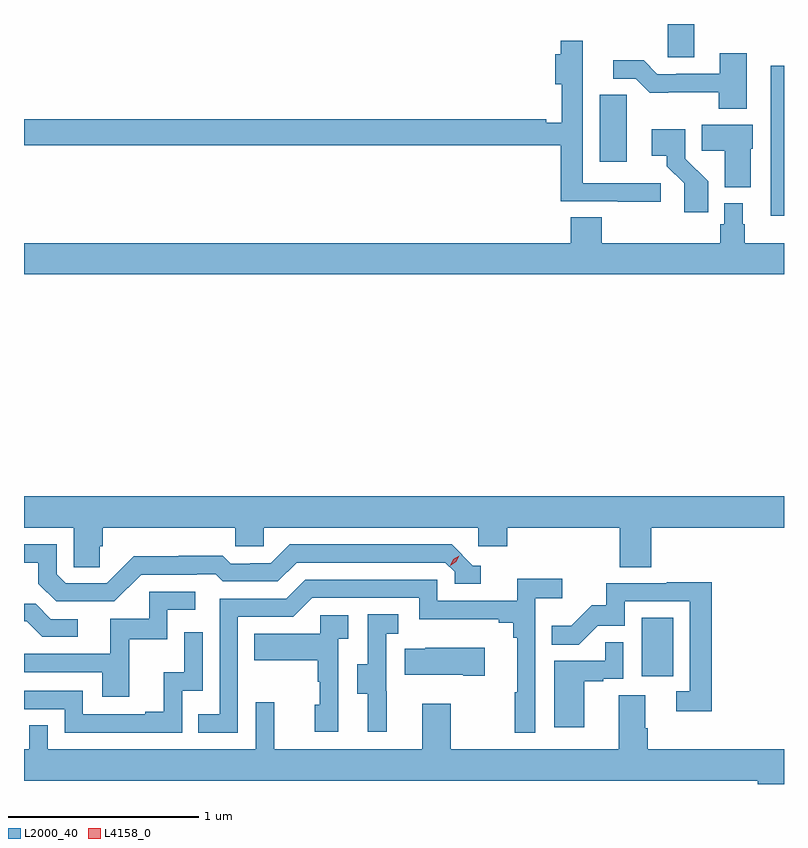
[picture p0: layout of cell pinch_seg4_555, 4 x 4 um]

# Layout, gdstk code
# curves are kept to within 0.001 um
import gdstk
lib = gdstk.Library(unit=1e-6, precision=1e-09)
def R(c, l, rs):  # rectangles x0, y0, x1, y1
    for r in rs: c.add(gdstk.rectangle(r[:2], r[2:], *l))
def P(c, l, *ps):  # polygons
    for p in ps: c.add(gdstk.Polygon(p, *l))
L2000_40 = (2000, 40)
L4158_0 = (4158, 0)

pinch_seg4_555 = lib.new_cell('pinch_seg4_555')
R(pinch_seg4_555, L2000_40, [(1107.974,780.054,1108.138,780.361), (1108.652,782.478,1108.722,783.265), (1108.11,783.31,1108.249,783.486)])
P(pinch_seg4_555, L2000_40, [(1108.072,782.649),(1107.663,782.649),(1107.663,783.174),(1107.664,783.174),(1107.664,783.397),(1107.547,783.397),(1107.547,783.328),(1107.518,783.328),(1107.518,783.17),(1107.551,783.17),(1107.551,782.966),(1107.47,782.966),(1107.47,782.984),(1104.722,782.984),(1104.722,782.848),(1107.547,782.848),(1107.547,782.553),(1107.847,782.553),(1107.847,782.551),(1108.072,782.551)],
  [(1108.525,783.331),(1108.385,783.331),(1108.385,783.225),(1108.156,783.225),(1108.156,783.222),(1108.056,783.222),(1107.983,783.295),(1107.822,783.295),(1107.822,783.198),(1107.942,783.198),(1108.015,783.125),(1108.378,783.126),(1108.378,783.041),(1108.525,783.041)],
  [(1107.895,783.002),(1107.894,783.002),(1107.894,783.113),(1107.752,783.113),(1107.752,782.76),(1107.895,782.76)],
  [(1108.546,782.829),(1108.558,782.829),(1108.558,782.956),(1108.288,782.956),(1108.288,782.818),(1108.409,782.818),(1108.409,782.627),(1108.546,782.627)],
  [(1108.322,782.658),(1108.203,782.777),(1108.203,782.932),(1108.026,782.932),(1108.026,782.792),(1108.106,782.792),(1108.106,782.737),(1108.197,782.647),(1108.197,782.496),(1108.322,782.496)],
  [(1108.722,782.332),(1108.516,782.332),(1108.516,782.433),(1108.504,782.433),(1108.504,782.542),(1108.407,782.542),(1108.407,782.433),(1108.387,782.433),(1108.387,782.332),(1107.764,782.332),(1107.764,782.468),(1107.599,782.468),(1107.599,782.332),(1104.722,782.332),(1104.722,782.168),(1108.722,782.168)],
  [(1105.121,780.738),(1105.136,780.738),(1105.136,780.836),(1105.833,780.836),(1105.833,780.738),(1105.983,780.738),(1105.983,780.836),(1107.114,780.836),(1107.114,780.738),(1107.266,780.738),(1107.266,780.836),(1107.857,780.836),(1107.857,780.628),(1108.022,780.628),(1108.022,780.836),(1108.722,780.836),(1108.722,781),(1104.722,781),(1104.722,780.836),(1104.984,780.836),(1104.984,780.628),(1105.121,780.628)],
  [(1105.338,780.588),(1105.631,780.588),(1105.631,780.591),(1105.73,780.591),(1105.769,780.552),(1106.058,780.552),(1106.157,780.651),(1106.94,780.651),(1106.988,780.603),(1106.988,780.54),(1107.127,780.54),(1107.127,780.636),(1107.084,780.636),(1106.973,780.747),(1106.12,780.747),(1106.021,780.648),(1105.914,780.648),(1105.914,780.645),(1105.811,780.645),(1105.769,780.688),(1105.536,780.688),(1105.536,780.685),(1105.3,780.685),(1105.158,780.543),(1104.942,780.543),(1104.894,780.591),(1104.894,780.747),(1104.722,780.747),(1104.722,780.651),(1104.797,780.651),(1104.797,780.541),(1104.891,780.447),(1105.197,780.447)],
  [(1105.848,780.366),(1106.139,780.366),(1106.238,780.465),(1106.802,780.465),(1106.802,780.353),(1107.221,780.353),(1107.221,780.334),(1107.298,780.334),(1107.298,780.257),(1107.317,780.257),(1107.317,779.969),(1107.306,779.969),(1107.306,779.757),(1107.414,779.757),(1107.414,780.464),(1107.556,780.464),(1107.556,780.566),(1107.317,780.566),(1107.317,780.45),(1106.898,780.45),(1106.898,780.561),(1106.201,780.561),(1106.102,780.462),(1105.752,780.462),(1105.752,779.853),(1105.639,779.853),(1105.639,779.757),(1105.848,779.757)],
  [(1108.343,780.548),(1108.105,780.548),(1108.105,780.543),(1107.787,780.543),(1107.787,780.426),(1107.71,780.426),(1107.603,780.319),(1107.499,780.319),(1107.499,780.22),(1107.643,780.22),(1107.741,780.318),(1107.885,780.318),(1107.885,780.447),(1108.227,780.447),(1108.227,779.973),(1108.155,779.973),(1108.155,779.868),(1108.343,779.868)],
  [(1105.277,780.249),(1105.476,780.249),(1105.476,780.402),(1105.624,780.402),(1105.624,780.498),(1105.38,780.498),(1105.38,780.357),(1105.175,780.357),(1105.175,780.171),(1104.722,780.171),(1104.722,780.075),(1105.133,780.075),(1105.133,779.946),(1105.277,779.946)],
  [(1105.006,780.354),(1104.864,780.354),(1104.784,780.434),(1104.722,780.434),(1104.722,780.342),(1104.737,780.342),(1104.818,780.261),(1105.006,780.261)],
  [(1106.63,779.973),(1106.628,779.973),(1106.628,780.277),(1106.692,780.277),(1106.692,780.38),(1106.532,780.38),(1106.532,780.117),(1106.477,780.117),(1106.477,779.962),(1106.531,779.962),(1106.531,779.76),(1106.63,779.76)],
  [(1106.376,780.251),(1106.428,780.251),(1106.428,780.375),(1106.28,780.375),(1106.28,780.277),(1105.933,780.277),(1105.933,780.137),(1106.268,780.137),(1106.268,780.023),(1106.278,780.023),(1106.278,779.904),(1106.252,779.904),(1106.252,779.76),(1106.376,779.76)],
  [(1105.554,779.976),(1105.662,779.976),(1105.662,780.286),(1105.566,780.286),(1105.566,780.074),(1105.457,780.074),(1105.457,779.866),(1105.361,779.866),(1105.361,779.853),(1105.032,779.853),(1105.032,779.976),(1104.722,779.976),(1104.722,779.88),(1104.936,779.88),(1104.936,779.757),(1105.554,779.757)],
  [(1107.67,780.027),(1107.77,780.027),(1107.77,780.039),(1107.876,780.039),(1107.876,780.233),(1107.781,780.233),(1107.781,780.135),(1107.512,780.135),(1107.512,779.784),(1107.67,779.784)],
  [(1107.148,780.202),(1106.833,780.202),(1106.833,780.199),(1106.725,780.199),(1106.725,780.062),(1107.035,780.062),(1107.035,780.055),(1107.148,780.055)],
  [(1108.722,779.668),(1108.004,779.668),(1108.004,779.78),(1107.991,779.78),(1107.991,779.954),(1107.851,779.954),(1107.851,779.668),(1106.967,779.668),(1106.967,779.908),(1106.819,779.908),(1106.819,779.668),(1106.039,779.668),(1106.039,779.917),(1105.941,779.917),(1105.941,779.668),(1104.846,779.668),(1104.846,779.795),(1104.75,779.795),(1104.75,779.668),(1104.722,779.668),(1104.722,779.504),(1108.583,779.504),(1108.583,779.486),(1108.722,779.486)])
P(pinch_seg4_555, L4158_0, [(1106.965,780.636),(1106.965,780.637),(1106.981,780.669),(1107.012,780.688),(1107.012,780.688),(1107.012,780.688),(1106.996,780.656),(1106.965,780.636)])

lib.write_gds('pinch_seg4_555.gds')
